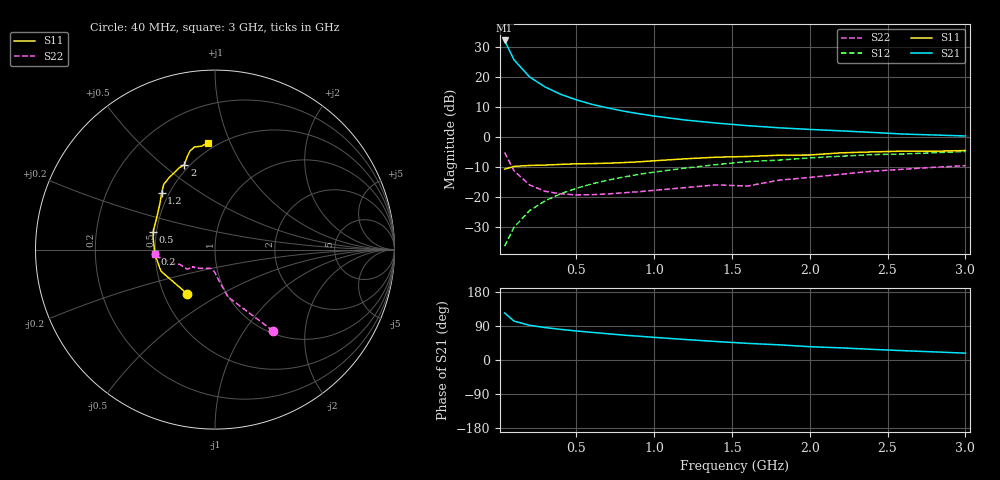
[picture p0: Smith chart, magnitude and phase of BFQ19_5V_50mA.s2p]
! Filename:  BFQ19C.S2P  Version:  2.0
! Philips part #: BFQ19  Date: Jul 1990
! Bias condition: Vce=5V, Ic=50mA
#  MHz  S  MA  R  50
! Freq  S11  S21  S12  S22  !GUM [dB]
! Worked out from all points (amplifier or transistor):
!   21 points, 40 MHz to 3 GHz, reference 50 ohm
!   highest |S21| = 32.3 dB at 40 MHz (marker M1)
!   |S21| within 3 dB of that: start of sweep to 67.86 MHz
!   unconditionally stable (mu >= 1): 198.2 MHz to 1.206 GHz
!   at 300 MHz: K = 1.02, MAG = 18.2 dB, |S12| = -21.3 dB
!   at 1 GHz: K = 1.02, MAG = 8.6 dB, |S12| = -11.7 dB
!   at 3 GHz: K = 0.93, MSG = 2.6 dB, |S12| = -4.8 dB
!   S11 on the Smith chart (normalised r, x): 40 MHz: 0.66, -0.35; 200 MHz: 0.50, -0.03; 500 MHz: 0.48, +0.11; 1.2 GHz: 0.46, +0.35; 2 GHz: 0.47, +0.59; 3 GHz: 0.45, +0.83
40  0.291 -122.0  41.43 124.2  0.015 69.2  0.555 -54.5
100  0.324 -158.1  19.69 102.7  0.031 75.9  0.274 -74.6
200  0.336 -175.6  10.18 91.6  0.059 77.2  0.159 -84.8
300  0.341 176.0  6.908 85.6  0.086 77.3  0.124 -91.3
400  0.35 169.6  5.205 80.8  0.113 76.7  0.113 -97.3
500  0.358 163.8  4.213 76.6  0.139 75.0  0.108 -101.8
600  0.361 159.4  3.547 72.9  0.165 74.0  0.109 -107.0
700  0.366 154.1  3.09 69.4  0.19 72.0  0.112 -111.7
800  0.375 148.9  2.739 65.8  0.214 70.3  0.117 -116.2
900  0.386 144.5  2.467 62.8  0.238 68.6  0.122 -121.3
1000  0.402 139.6  2.254 59.8  0.26 67.1  0.129 -125.7
1200  0.434 133.2  1.933 54.1  0.304 64.1  0.143 -134.2
1400  0.462 128.2  1.719 48.7  0.347 61.0  0.159 -142.3
1600  0.475 122.8  1.557 43.9  0.39 57.7  0.152 -140.9
1800  0.498 113.4  1.434 40.1  0.412 55.6  0.19 -145.1
2000  0.503 109.8  1.346 35.1  0.45 52.7  0.212 -157.0
2200  0.546 106.2  1.274 32.0  0.479 50.2  0.239 -161.0
2400  0.566 104.3  1.2 28.1  0.51 47.5  0.269 -166.4
2600  0.583 101.4  1.126 24.6  0.522 45.0  0.29 -170.0
2800  0.581 97.5  1.087 21.4  0.549 43.2  0.313 -171.7
3000  0.597 93.7  1.046 18.1  0.575 40.5  0.333 -175.3
